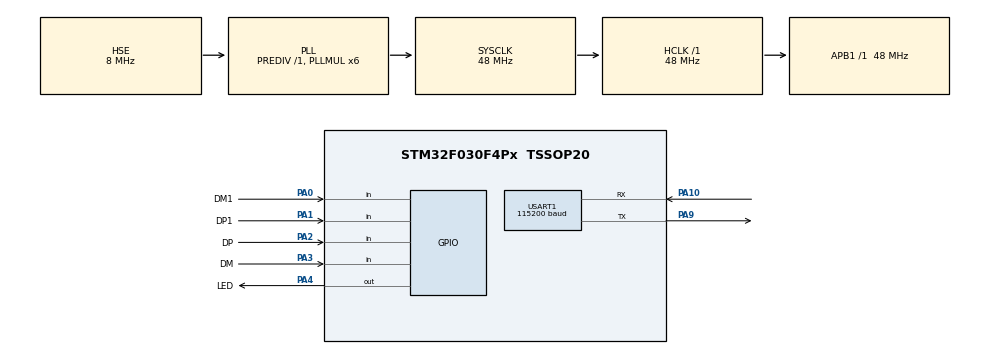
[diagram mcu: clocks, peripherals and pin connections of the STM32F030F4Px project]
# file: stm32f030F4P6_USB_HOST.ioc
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Mcu.Family=STM32F0
Mcu.Name=STM32F030F4Px
Mcu.Package=TSSOP20
NVIC.RCC_IRQn=true\:0\:0\:false\:false\:true\:true
NVIC.TIM3_IRQn=true\:0\:0\:false\:false\:true\:true
PA0.GPIO_Label=DM1
PA0.GPIO_PuPd=GPIO_PULLDOWN
PA0.Signal=GPIO_Input
PA1.GPIO_Label=DP1
PA1.GPIO_PuPd=GPIO_PULLDOWN
PA1.Signal=GPIO_Input
PA10.Mode=Asynchronous
PA10.Signal=USART1_RX
PA13.Mode=Serial_Wire
PA13.Signal=SYS_SWDIO
PA14.Mode=Serial_Wire
PA14.Signal=SYS_SWCLK
PA2.GPIO_Label=DP
PA2.GPIO_PuPd=GPIO_PULLDOWN
PA2.Signal=GPIO_Input
PA3.GPIO_Label=DM
PA3.GPIO_PuPd=GPIO_PULLDOWN
PA3.Signal=GPIO_Input
PA4.GPIO_Label=LED
PA4.PinState=GPIO_PIN_RESET
PA4.Signal=GPIO_Output
PA9.Mode=Asynchronous
PA9.Signal=USART1_TX
PF0-OSC_IN.Mode=HSE-External-Oscillator
PF0-OSC_IN.Signal=RCC_OSC_IN
PF1-OSC_OUT.Mode=HSE-External-Oscillator
PF1-OSC_OUT.Signal=RCC_OSC_OUT
ProjectManager.HeapSize=0x200
ProjectManager.StackSize=0x400
ProjectManager.TargetToolchain=SW4STM32
RCC.AHBFreq_Value=48000000
RCC.APB1Freq_Value=48000000
RCC.APB1TimFreq_Value=48000000
RCC.HCLKFreq_Value=48000000
RCC.PLLMUL=RCC_PLL_MUL6
RCC.PLLSourceVirtual=RCC_PLLSOURCE_HSE
RCC.SYSCLKFreq_VALUE=48000000
RCC.SYSCLKSource=RCC_SYSCLKSOURCE_PLLCLK
TIM1.Period=255
TIM1.Prescaler=0
TIM3.Period=999
TIM3.Prescaler=48-1
USART1.BaudRate=115200
USART1.VirtualMode-Asynchronous=VM_ASYNC
VP_TIM1_VS_ClockSourceINT.Mode=Internal
VP_TIM3_VS_ClockSourceINT.Mode=Internal
board=custom

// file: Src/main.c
/* USER CODE BEGIN Header */
/**
  ******************************************************************************
  * @file           : main.c
  * @brief          : Main program body
  ******************************************************************************
  ** This notice applies to any and all portions of this file
  * that are not between comment pairs USER CODE BEGIN and
  * USER CODE END. Other portions of this file, whether
  * inserted by the user or by software development tools
  * are owned by their respective copyright owners.
  *
  * COPYRIGHT(c) 2021 STMicroelectronics
  *
  * Redistribution and use in source and binary forms, with or without modification,
  * are permitted provided that the following conditions are met:
  *   1. Redistributions of source code must retain the above copyright notice,
  *      this list of conditions and the following disclaimer.
  *   2. Redistributions in binary form must reproduce the above copyright notice,
  *      this list of conditions and the following disclaimer in the documentation
  *      and/or other materials provided with the distribution.
  *   3. Neither the name of STMicroelectronics nor the names of its contributors
  *      may be used to endorse or promote products derived from this software
  *      without specific prior written permission.
  *
  * THIS SOFTWARE IS PROVIDED BY THE COPYRIGHT HOLDERS AND CONTRIBUTORS "AS IS"
  * AND ANY EXPRESS OR IMPLIED WARRANTIES, INCLUDING, BUT NOT LIMITED TO, THE
  * IMPLIED WARRANTIES OF MERCHANTABILITY AND FITNESS FOR A PARTICULAR PURPOSE ARE
  * DISCLAIMED. IN NO EVENT SHALL THE COPYRIGHT HOLDER OR CONTRIBUTORS BE LIABLE
  * FOR ANY DIRECT, INDIRECT, INCIDENTAL, SPECIAL, EXEMPLARY, OR CONSEQUENTIAL
  * DAMAGES (INCLUDING, BUT NOT LIMITED TO, PROCUREMENT OF SUBSTITUTE GOODS OR
  * SERVICES; LOSS OF USE, DATA, OR PROFITS; OR BUSINESS INTERRUPTION) HOWEVER
  * CAUSED AND ON ANY THEORY OF LIABILITY, WHETHER IN CONTRACT, STRICT LIABILITY,
  * OR TORT (INCLUDING NEGLIGENCE OR OTHERWISE) ARISING IN ANY WAY OUT OF THE USE
  * OF THIS SOFTWARE, EVEN IF ADVISED OF THE POSSIBILITY OF SUCH DAMAGE.
  *
  ******************************************************************************
  */
/* USER CODE END Header */

#include "main.h"

/* USER CODE BEGIN Includes */
#include <strings.h>
#include <stdio.h>
#include <stdarg.h>
#include <string.h>
#include <strings.h>
#include <math.h>

/* USER CODE END Includes */

TIM_HandleTypeDef htim1;
TIM_HandleTypeDef htim3;

UART_HandleTypeDef huart1;

/* USER CODE BEGIN PV */
void retarget_put_char(char p)
{
	//terminal_put_ch(p);
	HAL_UART_Transmit(&huart1, &p, 1, 0xffffff); // send message via UART
}
int _write(int fd, char* ptr, int len)
{
    (void)fd;
    int i = 0;
    while (ptr[i] && (i < len))
    {
    	if (ptr[i] == '\r')
    	{

    	}
    	else
    	{
			retarget_put_char((int)ptr[i]);
			if (ptr[i] == '\n')
			{
				retarget_put_char((int)'\r');
			}
    	}
        i++;
    }
    return len;
}

/* USER CODE END PV */

void SystemClock_Config(void);
static void MX_GPIO_Init(void);
static void MX_USART1_UART_Init(void);
static void MX_TIM3_Init(void);
static void MX_TIM1_Init(void);

/* USER CODE BEGIN 0 */
#include "usb_host.h"

void TimerCallback()
{
	usb_process();
}

void led(int k)
{
	 HAL_GPIO_WritePin(LED_GPIO_Port,LED_Pin,k?GPIO_PIN_RESET:GPIO_PIN_SET);
}

/* USER CODE END 0 */

int main(void)
{

  /* MCU Configuration--------------------------------------------------------*/

  /* Reset of all peripherals, Initializes the Flash interface and the Systick. */
  HAL_Init();

  /* Configure the system clock */
  SystemClock_Config();

  /* Initialize all configured peripherals */
  MX_GPIO_Init();
  MX_USART1_UART_Init();
  MX_TIM3_Init();
  MX_TIM1_Init();
  /* USER CODE BEGIN 2 */
  printf("\nStart\n\n");
  initStates(2,3,0,1);
  HAL_TIM_Base_Start_IT(&htim3);
  HAL_TIM_Base_Start(&htim1);
  /* USER CODE END 2 */

  /* Infinite loop */
  while (1)
  {

    /* USER CODE BEGIN 3 */
	  printState();
	  HAL_Delay(10);
  }
  /* USER CODE END 3 */
}

void SystemClock_Config(void)
{
  RCC_OscInitTypeDef RCC_OscInitStruct = {0};
  RCC_ClkInitTypeDef RCC_ClkInitStruct = {0};
  RCC_PeriphCLKInitTypeDef PeriphClkInit = {0};

  /**Initializes the CPU, AHB and APB busses clocks
  */
  RCC_OscInitStruct.OscillatorType = RCC_OSCILLATORTYPE_HSE;
  RCC_OscInitStruct.HSEState = RCC_HSE_ON;
  RCC_OscInitStruct.PLL.PLLState = RCC_PLL_ON;
  RCC_OscInitStruct.PLL.PLLSource = RCC_PLLSOURCE_HSE;
  RCC_OscInitStruct.PLL.PLLMUL = RCC_PLL_MUL6;
  RCC_OscInitStruct.PLL.PREDIV = RCC_PREDIV_DIV1;
  if (HAL_RCC_OscConfig(&RCC_OscInitStruct) != HAL_OK)
  {
    Error_Handler();
  }
  /**Initializes the CPU, AHB and APB busses clocks
  */
  RCC_ClkInitStruct.ClockType = RCC_CLOCKTYPE_HCLK|RCC_CLOCKTYPE_SYSCLK
                              |RCC_CLOCKTYPE_PCLK1;
  RCC_ClkInitStruct.SYSCLKSource = RCC_SYSCLKSOURCE_PLLCLK;
  RCC_ClkInitStruct.AHBCLKDivider = RCC_SYSCLK_DIV1;
  RCC_ClkInitStruct.APB1CLKDivider = RCC_HCLK_DIV1;

  if (HAL_RCC_ClockConfig(&RCC_ClkInitStruct, FLASH_LATENCY_1) != HAL_OK)
  {
    Error_Handler();
  }
  PeriphClkInit.PeriphClockSelection = RCC_PERIPHCLK_USART1;
  PeriphClkInit.Usart1ClockSelection = RCC_USART1CLKSOURCE_PCLK1;
  if (HAL_RCCEx_PeriphCLKConfig(&PeriphClkInit) != HAL_OK)
  {
    Error_Handler();
  }
}

static void MX_TIM1_Init(void)
{

  TIM_ClockConfigTypeDef sClockSourceConfig = {0};
  TIM_MasterConfigTypeDef sMasterConfig = {0};

  htim1.Instance = TIM1;
  htim1.Init.Prescaler = 0;
  htim1.Init.CounterMode = TIM_COUNTERMODE_UP;
  htim1.Init.Period = 255;
  htim1.Init.ClockDivision = TIM_CLOCKDIVISION_DIV1;
  htim1.Init.RepetitionCounter = 0;
  htim1.Init.AutoReloadPreload = TIM_AUTORELOAD_PRELOAD_DISABLE;
  if (HAL_TIM_Base_Init(&htim1) != HAL_OK)
  {
    Error_Handler();
  }
  sClockSourceConfig.ClockSource = TIM_CLOCKSOURCE_INTERNAL;
  if (HAL_TIM_ConfigClockSource(&htim1, &sClockSourceConfig) != HAL_OK)
  {
    Error_Handler();
  }
  sMasterConfig.MasterOutputTrigger = TIM_TRGO_RESET;
  sMasterConfig.MasterSlaveMode = TIM_MASTERSLAVEMODE_DISABLE;
  if (HAL_TIMEx_MasterConfigSynchronization(&htim1, &sMasterConfig) != HAL_OK)
  {
    Error_Handler();
  }

}

static void MX_TIM3_Init(void)
{

  TIM_ClockConfigTypeDef sClockSourceConfig = {0};
  TIM_MasterConfigTypeDef sMasterConfig = {0};

  htim3.Instance = TIM3;
  htim3.Init.Prescaler = 48-1;
  htim3.Init.CounterMode = TIM_COUNTERMODE_UP;
  htim3.Init.Period = 999;
  htim3.Init.ClockDivision = TIM_CLOCKDIVISION_DIV1;
  htim3.Init.AutoReloadPreload = TIM_AUTORELOAD_PRELOAD_DISABLE;
  if (HAL_TIM_Base_Init(&htim3) != HAL_OK)
  {
    Error_Handler();
  }
  sClockSourceConfig.ClockSource = TIM_CLOCKSOURCE_INTERNAL;
  if (HAL_TIM_ConfigClockSource(&htim3, &sClockSourceConfig) != HAL_OK)
  {
    Error_Handler();
  }
  sMasterConfig.MasterOutputTrigger = TIM_TRGO_RESET;
  sMasterConfig.MasterSlaveMode = TIM_MASTERSLAVEMODE_DISABLE;
  if (HAL_TIMEx_MasterConfigSynchronization(&htim3, &sMasterConfig) != HAL_OK)
  {
    Error_Handler();
  }

}

static void MX_USART1_UART_Init(void)
{

  huart1.Instance = USART1;
  huart1.Init.BaudRate = 115200;
  huart1.Init.WordLength = UART_WORDLENGTH_8B;
  huart1.Init.StopBits = UART_STOPBITS_1;
  huart1.Init.Parity = UART_PARITY_NONE;
  huart1.Init.Mode = UART_MODE_TX_RX;
  huart1.Init.HwFlowCtl = UART_HWCONTROL_NONE;
  huart1.Init.OverSampling = UART_OVERSAMPLING_16;
  huart1.Init.OneBitSampling = UART_ONE_BIT_SAMPLE_DISABLE;
  huart1.AdvancedInit.AdvFeatureInit = UART_ADVFEATURE_NO_INIT;
  if (HAL_UART_Init(&huart1) != HAL_OK)
  {
    Error_Handler();
  }

}

static void MX_GPIO_Init(void)
{
  GPIO_InitTypeDef GPIO_InitStruct = {0};

  /* GPIO Ports Clock Enable */
  __HAL_RCC_GPIOF_CLK_ENABLE();
  __HAL_RCC_GPIOA_CLK_ENABLE();

  /*Configure GPIO pin Output Level */
  HAL_GPIO_WritePin(LED_GPIO_Port, LED_Pin, GPIO_PIN_RESET);

  /*Configure GPIO pins : DM1_Pin DP1_Pin DP_Pin DM_Pin */
  GPIO_InitStruct.Pin = DM1_Pin|DP1_Pin|DP_Pin|DM_Pin;
  GPIO_InitStruct.Mode = GPIO_MODE_INPUT;
  GPIO_InitStruct.Pull = GPIO_PULLDOWN;
  HAL_GPIO_Init(GPIOA, &GPIO_InitStruct);

  /*Configure GPIO pin : LED_Pin */
  GPIO_InitStruct.Pin = LED_Pin;
  GPIO_InitStruct.Mode = GPIO_MODE_OUTPUT_PP;
  GPIO_InitStruct.Pull = GPIO_NOPULL;
  GPIO_InitStruct.Speed = GPIO_SPEED_FREQ_LOW;
  HAL_GPIO_Init(LED_GPIO_Port, &GPIO_InitStruct);

}

void Error_Handler(void)
{
}

/************************ (C) COPYRIGHT STMicroelectronics *****END OF FILE****/
